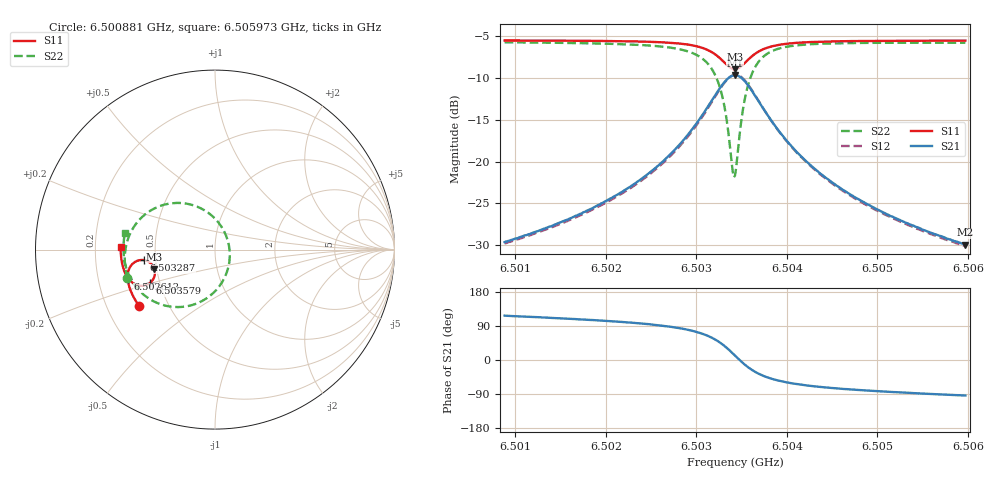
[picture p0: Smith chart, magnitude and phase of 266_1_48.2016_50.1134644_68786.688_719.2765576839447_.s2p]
#  HZ  S  RI  R  50.00
! Rohde & Schwarz Vector Network Analyzer
! Rohde-Schwarz,ZNB20-2Port,1311601062101988,3.16
! Created: UTC 3/20/2024, 11:47:57 AM
! freq[Hz]  re:S11  im:S11  re:S21  im:S21  re:S12  im:S12  re:S22  im:S22
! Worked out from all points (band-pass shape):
!   401 points, 6.500881 GHz to 6.505973 GHz, reference 50 ohm
!   highest |S21| = -9.71 dB at 6.503427 GHz (marker M1); lowest = -29.9 dB at 6.505973 GHz (marker M2)
!   |S21| within 3 dB of the highest: 6.503171 GHz to 6.503681 GHz (509.9 kHz wide, 0.00784 % of centre)
!   lowest |S11| = -9.0 dB at 6.503427 GHz (marker M3), VSWR 2.10, Z = 24.3 - j6.02 ohm
!   |S11| at or under -10 dB: nowhere
!   |S22| runs from -21.9 to -5.8 dB; largest |S21 - S12| = 0.011
!   S11 on the Smith chart (normalised r, x): 6.500881 GHz: 0.34, -0.30; 6.502612 GHz: 0.33, -0.15; 6.503287 GHz: 0.43, -0.06; 6.503579 GHz: 0.44, -0.20; 6.505973 GHz: 0.31, +0.01
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6.5008805e9  -0.423 -0.3135  -0.015 0.0295  -0.0133 0.0297  -0.4879 -0.1605
6.5017335e9  -0.4602 -0.2511  -0.0144 0.0468  -0.012 0.0467  -0.5021 -0.0709
6.5022427e9  -0.4781 -0.206  -0.0111 0.0685  -0.00805 0.0674  -0.4989 0.00163
6.5025864e9  -0.4863 -0.168  -0.00264 0.0953  0.000966 0.0933  -0.4807 0.0704
6.5026119e9  -0.4866 -0.1646  -0.00145 0.0983  0.0022 0.0958  -0.4783 0.0767
6.5028538e9  -0.4852 -0.1291  0.018 0.1324  0.0217 0.1284  -0.4373 0.1473
6.503032e9  -0.4723 -0.0953  0.0551 0.1693  0.0584 0.1637  -0.3644 0.2141
6.5031848e9  -0.4388 -0.0651  0.1292 0.1993  0.1305 0.193  -0.2286 0.2592
6.5032866e9  -0.396 -0.0585  0.2148 0.19  0.215 0.1848  -0.08 0.2305
6.5033376e9  -0.3705 -0.0673  0.2629 0.1618  0.2637 0.1571  0.000229 0.1725
6.5034012e9  -0.344 -0.0938  0.3102 0.0982  0.3128 0.0931  0.0713 0.05
6.5034267e9  -0.3378 -0.1084  0.3202 0.0661  0.3234 0.0602  0.0817 -0.00982
6.5034521e9  -0.3349 -0.1239  0.3237 0.0327  0.3272 0.0256  0.0797 -0.0707
6.5035158e9  -0.3421 -0.1607  0.3055 -0.0447  0.3073 -0.0547  0.0238 -0.2048
6.5035794e9  -0.3632 -0.1865  0.2627 -0.0983  0.2616 -0.1095  -0.0724 -0.2864
6.5036813e9  -0.4026 -0.2013  0.1887 -0.134  0.1832 -0.1433  -0.2214 -0.3199
6.5038468e9  -0.4483 -0.1917  0.1077 -0.1309  0.1006 -0.1359  -0.3671 -0.2734
6.504025e9  -0.4754 -0.1704  0.0633 -0.111  0.0572 -0.1133  -0.4388 -0.209
6.5042796e9  -0.4962 -0.1404  0.0337 -0.0869  0.029 -0.0875  -0.4817 -0.1372
6.5046488e9  -0.5113 -0.1021  0.0151 -0.0647  0.0119 -0.0642  -0.5037 -0.0645
6.5051326e9  -0.5212 -0.0574  0.00502 -0.0475  0.00275 -0.0469  -0.51 0.00336
6.5059728e9  -0.5259 0.0135  -0.0021 -0.0318  -0.00342 -0.0311  -0.5019 0.0914
